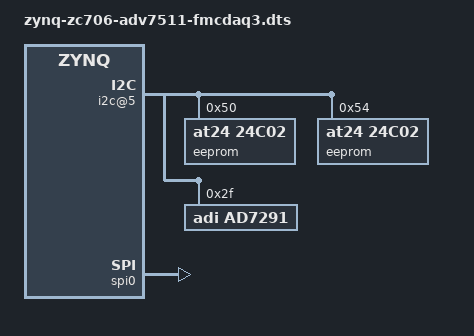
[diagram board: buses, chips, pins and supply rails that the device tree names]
/dts-v1/;

/include/ "zynq-zc706.dtsi"
/include/ "zynq-zc706-adv7511.dtsi"

&i2c_mux {
	i2c@5 { /* HPC IIC */
		#address-cells = <1>;
		#size-cells = <0>;
		reg = <5>;

		eeprom@50 {
			compatible = "at24,24c02";
			reg = <0x50>;
		};

		eeprom@54 {
			compatible = "at24,24c02";
			reg = <0x54>;
		};

		ad7291@2f {
			compatible = "adi,ad7291";
			reg = <0x2f>;
		};
	};
};

&fpga_axi {
	rx_dma: rx-dmac@7c400000 {
		compatible = "adi,axi-dmac-1.00.a";
		reg = <0x7c400000 0x10000>;
		#dma-cells = <1>;
		interrupts = <0 57 0>;
		clocks = <&clkc 16>;

		dma-channel {
			adi,buswidth = <64>;
			adi,type = <0>;
		};
	};

	tx_dma: tx-dmac@7c420000 {
		compatible = "adi,axi-dmac-1.00.a";
		reg = <0x7c420000 0x10000>;
		#dma-cells = <1>;
		interrupts = <0 56 0>;
		clocks = <&clkc 16>;

		dma-channel {
			adi,buswidth = <64>;
			adi,type = <1>;
			adi,cyclic;
		};
	};

	axi_ad9152_core: axi-ad9152-hpc@44a04000 {
		compatible = "adi,axi-ad9144-1.0";
		reg = <0x44a04000 0x4000>;
		dmas = <&tx_dma 0>;
		dma-names = "tx";

		spibus-connected = <&dac0_ad9152>;
	};

	axi_ad9152_jesd: axi-jesd204b-tx@44a90000 {
		compatible = "xlnx,jesd204-5.1";
		reg = <0x44a90000 0x1000>;

		clocks = <&axi_ad9152_adxcvr>;
		clock-names = "dac_gt_clk";

		#clock-cells = <0>;
		clock-output-names = "jesd_dac_clk";

		xlnx,lanes = <0x4>;
		xlnx,frames-per-multiframe = <32>;
		xlnx,bytes-per-frame = <1>;
		xlnx,subclass = <1>;
		xlnx,lanesync-enable;
		xlnx,scramble-enable;
	};

	axi_ad9680_core: axi-ad9680-hpc@44a10000 {
		compatible = "adi,axi-ad9680-1.0";
		reg = <0x44a10000 0x10000>;
		dmas = <&rx_dma 0>;
		dma-names = "rx";

		spibus-connected = <&adc0_ad9680>;
	};

	axi_ad9680_jesd: axi-jesd204b-rx@44a91000 {
		compatible = "xlnx,jesd204-5.1";
		reg = <0x44a91000 0x1000>;

		clocks = <&axi_ad9680_adxcvr>;
		clock-names = "adc_gt_clk";

		#clock-cells = <0>;
		clock-output-names = "jesd_adc_clk";

		xlnx,lanes = <0x4>;
		xlnx,frames-per-multiframe = <32>;
		xlnx,bytes-per-frame = <1>;
		xlnx,subclass = <1>;
		xlnx,lanesync-enable;
		xlnx,scramble-enable;
	};

	axi_ad9680_adxcvr: axi-ad9680-adxcvr@44a50000 {
		#address-cells = <1>;
		#size-cells = <0>;
		compatible = "adi,axi-adxcvr-1.0";
		reg = < 0x44a50000 0x1000 >;
		#clock-cells = <0>;
		clocks = <&clk0_ad9528 4>, <&clk0_ad9528 6>;
		clock-names = "conv", "sysref";
		clock-output-names = "adc_gt_clk";
		adi,sys-clk-select = <3>;
		adi,out-clk-select = <4>;
		adi,use-lpm-enable;
		adi,use-cpll-enable;
	};

	axi_ad9152_adxcvr: axi-ad9152-adxcvr@44a60000 {
		#address-cells = <1>;
		#size-cells = <0>;
		compatible = "adi,axi-adxcvr-1.0";
		reg = < 0x44a60000 0x1000 >;
		#clock-cells = <0>;
		clocks = <&clk0_ad9528 9>, <&clk0_ad9528 7>;
		clock-names = "conv", "sysref";
		clock-output-names = "dac_gt_clk";
		adi,link-is-transmit-enable;
		adi,sys-clk-select = <3>;
		adi,out-clk-select = <4>;
		adi,use-lpm-enable;
	};
};

&spi0 {
	status = "okay";
};

#define fmc_spi spi0

#include "adi-daq3.dtsi"

&adc0_ad9680 {
	powerdown-gpios = <&gpio0 92 0>;
	fastdetect-a-gpios = <&gpio0 89 0>;
	fastdetect-b-gpios = <&gpio0 90 0>;
};

&dac0_ad9152 {
	txen-gpios = <&gpio0 91 0>;
	irq-gpios = <&gpio0 88 0>;
};

&clk0_ad9528 {
	status0-gpios = <&gpio0 86 0>;
	status1-gpios = <&gpio0 87 0>;
};
